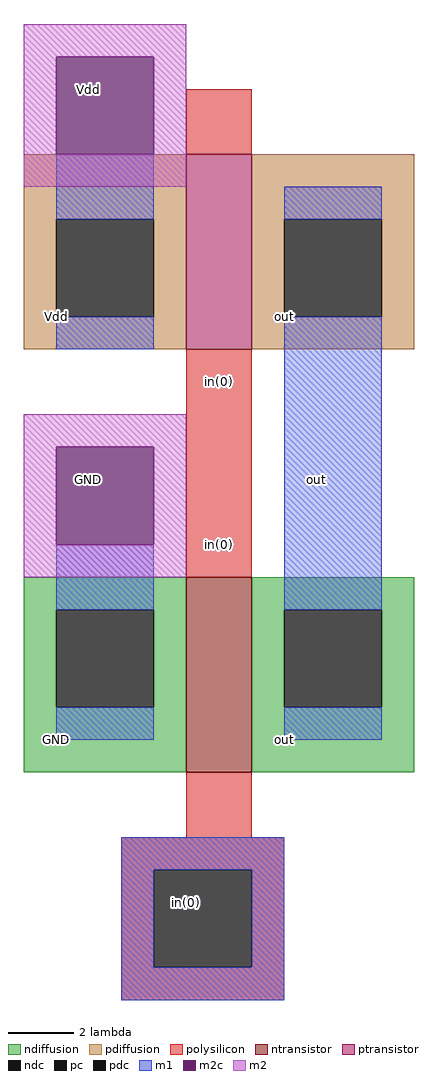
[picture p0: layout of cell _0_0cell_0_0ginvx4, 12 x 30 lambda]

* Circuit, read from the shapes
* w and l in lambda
.subckt _0_0cell_0_0ginvx4 GND Vdd out in(0)
M1 out in(0) GND VSUBS nfet w=6 l=2
M2 out in(0) Vdd NWELL pfet w=6 l=2
.ends

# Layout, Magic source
magic
tech sky130l
<< ndiffusion >>
rect 8 11 13 12
rect 8 8 9 11
rect 12 8 13 11
rect 8 6 13 8
rect 15 11 20 12
rect 15 8 16 11
rect 19 8 20 11
rect 15 6 20 8
<< ndc >>
rect 9 8 12 11
rect 16 8 19 11
<< ntransistor >>
rect 13 6 15 12
<< pdiffusion >>
rect 8 23 13 25
rect 8 20 9 23
rect 12 20 13 23
rect 8 19 13 20
rect 15 23 20 25
rect 15 20 16 23
rect 19 20 20 23
rect 15 19 20 20
<< pdc >>
rect 9 20 12 23
rect 16 20 19 23
<< ptransistor >>
rect 13 19 15 25
<< polysilicon >>
rect 13 25 15 27
rect 13 12 15 19
rect 13 4 15 6
rect 11 3 16 4
rect 11 0 12 3
rect 15 0 16 3
rect 11 -1 16 0
<< pc >>
rect 12 0 15 3
<< m1 >>
rect 9 23 12 25
rect 9 19 12 20
rect 16 23 19 24
rect 9 11 12 13
rect 9 7 12 8
rect 16 11 19 20
rect 16 7 19 8
rect 11 3 16 4
rect 11 0 12 3
rect 15 0 16 3
rect 11 -1 16 0
<< m2c >>
rect 9 25 12 28
rect 9 13 12 16
<< m2 >>
rect 8 28 13 29
rect 8 25 9 28
rect 12 25 13 28
rect 8 24 13 25
rect 8 16 13 17
rect 8 13 9 16
rect 12 13 13 16
rect 8 12 13 13
<< labels >>
rlabel ndiffusion 16 7 16 7 3 out
rlabel pdiffusion 16 20 16 20 3 out
rlabel polysilicon 14 13 14 13 3 in(0)
rlabel pdiffusion 9 20 9 20 3 Vdd
rlabel polysilicon 14 18 14 18 3 in(0)
rlabel ndiffusion 9 7 9 7 1 GND
rlabel m1 17 15 17 15 3 out
port 3 e
rlabel m2c 10 15 10 15 3 GND
port 1 e
rlabel m2c 10 27 10 27 3 Vdd
port 2 e
rlabel pc 13 2 13 2 3 in(0)
port 4 e
<< end >>
